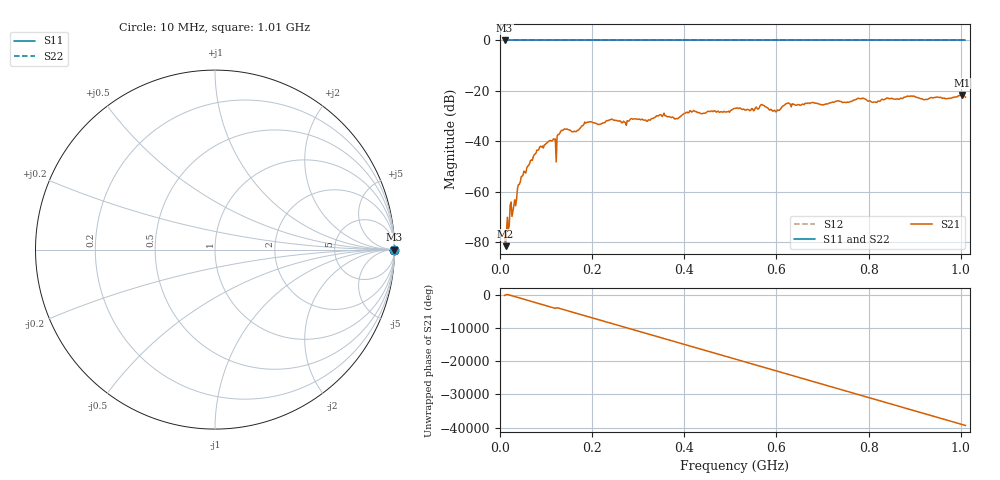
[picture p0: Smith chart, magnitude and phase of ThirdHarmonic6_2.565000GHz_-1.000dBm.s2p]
! 8/17/2025 5:20:03 AM
! C:\ANRITSUVNA\TEMP\TEMP.S2P
! CHANNEL.1
! TR.MEASUREMENT
! RAW.DATA
! RF.CORRECTION.OFF
! AVERAGING.OFF
! IF.BANDWIDTH: 5KHZ
! SWEEPTYPE:  FREQ.SWEEP(Linear)
! Reference Plane Port Info
! PORT:  PORT1  PORT2
! DISTANCE:  0  m  0  m
! TIME:  0  s  0  s
! PHASE.OFFSET:  0  deg.  0  deg.
! LOSS:  0  dB  0  dB
! REF.LOSS:  0  dB  0  dB
! REF.FREQ:  0  Hz  0  Hz
! Power Info
! POWER:  -20  dBm  -20  dBm
! EFF.POWER:  -20  dBm  -20  dBm
! SOURCE.ATTEN:  0  dB  0  dB
! TEST.ATTEN:  0  dB  0  dB
# GHZ S RI R 50.0
! FREQ.GHZ  S11RE  S11IM  S21RE  S21IM  S12RE  S12IM  S22RE  S22IM
!; PortSelection: Port_12
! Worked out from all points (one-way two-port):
!   501 points, 10 MHz to 1.01 GHz, reference 50 ohm
!   highest |S21| = -21.67 dB at 1.002 GHz (marker M1); lowest = -81.7 dB at 12 MHz (marker M2)
!   lowest |S11| = 0.0 dB at 10 MHz (marker M3)
!   |S11| at or under -10 dB: nowhere
!   |S22| runs from 0.0 to 0.0 dB; largest |S21 - S12| = 1.1
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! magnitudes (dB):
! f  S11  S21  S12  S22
! 10 MHz  0.0  -76.6  0.0  0.0
! 12 MHz  0.0  -81.7  0.0  0.0
! 16 MHz  0.0  -70.2  0.0  0.0
! 20 MHz  0.0  -73.6  0.0  0.0
! 30 MHz  0.0  -65.8  0.0  0.0
! 44 MHz  0.0  -56.2  0.0  0.0
! 78 MHz  0.0  -44.8  0.0  0.0
! 106 MHz  0.0  -40.1  0.0  0.0
! 118 MHz  0.0  -39.3  0.0  0.0
! 136 MHz  0.0  -35.7  0.0  0.0
! 178 MHz  0.0  -33.9  0.0  0.0
! 344 MHz  0.0  -29.9  0.0  0.0
! 382 MHz  0.0  -31.0  0.0  0.0
! 416 MHz  0.0  -28.4  0.0  0.0
! 510 MHz  0.0  -26.9  0.0  0.0
! 570 MHz  0.0  -25.6  0.0  0.0
! 596 MHz  0.0  -27.7  0.0  0.0
! 624 MHz  0.0  -24.9  0.0  0.0
! 678 MHz  0.0  -24.7  0.0  0.0
! 844 MHz  0.0  -23.1  0.0  0.0
! 1.002 GHz  0.0  -21.7  0.0  0.0
! 1.01 GHz  0.0  -22.5  0.0  0.0
